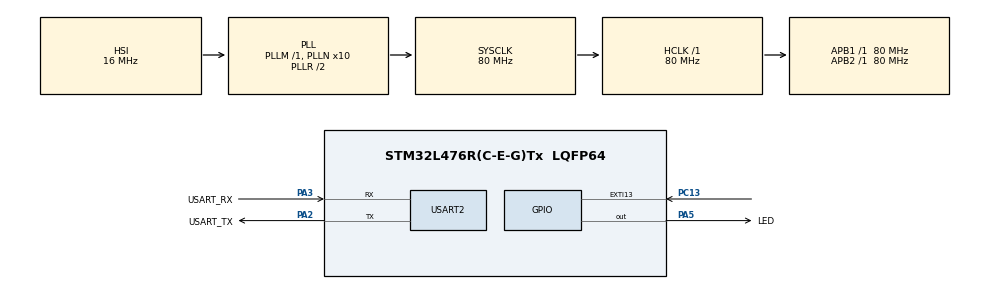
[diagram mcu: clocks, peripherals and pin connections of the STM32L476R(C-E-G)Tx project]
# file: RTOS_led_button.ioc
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FREERTOS.Tasks01=defaultTask,0,128,StartDefaultTask,Default,NULL,Dynamic,NULL,NULL
Mcu.Family=STM32L4
Mcu.Name=STM32L476R(C-E-G)Tx
Mcu.Package=LQFP64
NVIC.EXTI15_10_IRQn=true\:5\:0\:false\:false\:true\:true\:true\:true\:true
NVIC.PriorityGroup=NVIC_PRIORITYGROUP_4
PA13\ (JTMS-SWDIO).GPIO_Label=TMS
PA13\ (JTMS-SWDIO).Mode=Serial_Wire
PA13\ (JTMS-SWDIO).Signal=SYS_JTMS-SWDIO
PA14\ (JTCK-SWCLK).GPIO_Label=TCK
PA14\ (JTCK-SWCLK).Mode=Serial_Wire
PA14\ (JTCK-SWCLK).Signal=SYS_JTCK-SWCLK
PA2.GPIO_Label=USART_TX
PA2.GPIO_Mode=GPIO_MODE_AF_PP
PA2.GPIO_PuPd=GPIO_NOPULL
PA2.GPIO_Speed=GPIO_SPEED_FREQ_VERY_HIGH
PA2.Mode=Asynchronous
PA2.Signal=USART2_TX
PA3.GPIO_Label=USART_RX
PA3.GPIO_Mode=GPIO_MODE_AF_PP
PA3.GPIO_PuPd=GPIO_NOPULL
PA3.GPIO_Speed=GPIO_SPEED_FREQ_VERY_HIGH
PA3.Mode=Asynchronous
PA3.Signal=USART2_RX
PA5.GPIO_Label=LED
PA5.GPIO_ModeDefaultOutputPP=GPIO_MODE_OUTPUT_PP
PA5.GPIO_PuPd=GPIO_NOPULL
PA5.GPIO_Speed=GPIO_SPEED_FREQ_LOW
PA5.Signal=GPIO_Output
PB3\ (JTDO-TRACESWO).GPIO_Label=SWO
PB3\ (JTDO-TRACESWO).Signal=SYS_JTDO-SWO
PC13.Signal=GPXTI13
PC14-OSC32_IN\ (PC14).Mode=LSE-External-Oscillator
PC14-OSC32_IN\ (PC14).Signal=RCC_OSC32_IN
PC15-OSC32_OUT\ (PC15).Mode=LSE-External-Oscillator
PC15-OSC32_OUT\ (PC15).Signal=RCC_OSC32_OUT
PH0-OSC_IN\ (PH0).Signal=RCC_OSC_IN
PH1-OSC_OUT\ (PH1).Signal=RCC_OSC_OUT
ProjectManager.HeapSize=0x200
ProjectManager.StackSize=0x400
ProjectManager.TargetToolchain=STM32CubeIDE
RCC.ADCFreq_Value=64000000
RCC.AHBFreq_Value=80000000
RCC.APB1Freq_Value=80000000
RCC.APB1TimFreq_Value=80000000
RCC.APB2Freq_Value=80000000
RCC.APB2TimFreq_Value=80000000
RCC.CortexFreq_Value=80000000
RCC.HCLKFreq_Value=80000000
RCC.HSE_VALUE=8000000
RCC.HSI_VALUE=16000000
RCC.MSI_VALUE=4000000
RCC.PLLN=10
RCC.PLLSourceVirtual=RCC_PLLSOURCE_HSI
RCC.PREFETCH_ENABLE=1
RCC.SYSCLKFreq_VALUE=80000000
RCC.SYSCLKSource=RCC_SYSCLKSOURCE_PLLCLK
RCC.USBFreq_Value=64000000
RCC.VCOOutputFreq_Value=160000000
USART2.VirtualMode-Asynchronous=VM_ASYNC
VP_FREERTOS_VS_CMSIS_V1.Mode=CMSIS_V1
board=NUCLEO-L476RG

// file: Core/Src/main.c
/* USER CODE BEGIN Header */
/**
  ******************************************************************************
  * @file           : main.c
  * @brief          : Main program body
  ******************************************************************************
  * @attention
  *
  * Copyright (c) 2025 STMicroelectronics.
  * All rights reserved.
  *
  * This software is licensed under terms that can be found in the LICENSE file
  * in the root directory of this software component.
  * If no LICENSE file comes with this software, it is provided AS-IS.
  *
  ******************************************************************************
  */
/* USER CODE END Header */
#include "main.h"
#include "cmsis_os.h"

/* USER CODE BEGIN PD */
//macros to indicate about button status
#define NOT_PRESSED		0
#define PRESSED			1
/* USER CODE END PD */

UART_HandleTypeDef huart2;  //handle for USART2

osThreadId defaultTaskHandle; // handle for the default task
/* USER CODE BEGIN PV */
uint8_t button_status = NOT_PRESSED;   //variable to track button pressed or not
/* USER CODE END PV */

void SystemClock_Config(void);
static void MX_GPIO_Init(void);
static void MX_USART2_UART_Init(void);
void StartDefaultTask(void const * argument);

/* USER CODE BEGIN 0 */

// Interrupt Service Routine for EXTI lines 15 to 10 (covers PC13 user button)
void EXTI15_10_IRQHandler(void)
{
  /* USER CODE BEGIN EXTI15_10_IRQn 0 */

  /* USER CODE END EXTI15_10_IRQn 0 */
  HAL_GPIO_EXTI_IRQHandler(GPIO_PIN_13);// Clear the EXTI interrupt flag for pin PC13
  button_handler(NULL); // Call function to handle button press (toggle button_status)
  /* USER CODE BEGIN EXTI15_10_IRQn 1 */

  /* USER CODE END EXTI15_10_IRQn 1 */
}
// Task to control LED based on button_status
void led_task(void *p)
{
	while(1)   // keep running forever
	{
		if(button_status == PRESSED)   // check if button is pressed
		{
			HAL_GPIO_WritePin(GPIOA, GPIO_PIN_5, SET);   // turn ON LED
			vTaskDelay(1000);    // wait 1000 ticks
		}
		else   // button not pressed
		{
			HAL_GPIO_WritePin(GPIOA, GPIO_PIN_5, RESET); // turn OFF LED
			// vTaskDelay(1000); //  delay
		}
	}
}

// Interrupt or task handler to update button_status
void button_handler(void *p)
{
	button_status ^= 1;  // toggle button_status (0->1 or 1->0)
}

/* USER CODE END 0 */

int main(void)
{

  /* MCU Configuration--------------------------------------------------------*/

  /* Reset of all peripherals, Initializes the Flash interface and the Systick. */
  HAL_Init();

  /* Configure the system clock */
  SystemClock_Config();

  /* Initialize all configured peripherals */
  MX_GPIO_Init();
  MX_USART2_UART_Init();

  /* Create the thread(s) */
  /* definition and creation of defaultTask */
  osThreadDef(defaultTask, StartDefaultTask, osPriorityNormal, 0, 128);
  defaultTaskHandle = osThreadCreate(osThread(defaultTask), NULL);

  /* USER CODE BEGIN RTOS_THREADS */
 xTaskCreate(led_task, "LED", configMINIMAL_STACK_SIZE, NULL, 1,NULL);  // task created for set led depending upon switch press

  /* USER CODE END RTOS_THREADS */

  /* Start scheduler */
  osKernelStart();

  /* We should never get here as control is now taken by the scheduler */

  /* Infinite loop */
  while (1)
  {

  }
}

void SystemClock_Config(void)
{
  RCC_OscInitTypeDef RCC_OscInitStruct = {0};
  RCC_ClkInitTypeDef RCC_ClkInitStruct = {0};

  /** Configure the main internal regulator output voltage
  */
  if (HAL_PWREx_ControlVoltageScaling(PWR_REGULATOR_VOLTAGE_SCALE1) != HAL_OK)
  {
    Error_Handler();
  }

  /** Initializes the RCC Oscillators according to the specified parameters
  * in the RCC_OscInitTypeDef structure.
  */
  RCC_OscInitStruct.OscillatorType = RCC_OSCILLATORTYPE_HSI;
  RCC_OscInitStruct.HSIState = RCC_HSI_ON;
  RCC_OscInitStruct.HSICalibrationValue = RCC_HSICALIBRATION_DEFAULT;
  RCC_OscInitStruct.PLL.PLLState = RCC_PLL_ON;
  RCC_OscInitStruct.PLL.PLLSource = RCC_PLLSOURCE_HSI;
  RCC_OscInitStruct.PLL.PLLM = 1;
  RCC_OscInitStruct.PLL.PLLN = 10;
  RCC_OscInitStruct.PLL.PLLP = RCC_PLLP_DIV7;
  RCC_OscInitStruct.PLL.PLLQ = RCC_PLLQ_DIV2;
  RCC_OscInitStruct.PLL.PLLR = RCC_PLLR_DIV2;
  if (HAL_RCC_OscConfig(&RCC_OscInitStruct) != HAL_OK)
  {
    Error_Handler();
  }

  /** Initializes the CPU, AHB and APB buses clocks
  */
  RCC_ClkInitStruct.ClockType = RCC_CLOCKTYPE_HCLK|RCC_CLOCKTYPE_SYSCLK
                              |RCC_CLOCKTYPE_PCLK1|RCC_CLOCKTYPE_PCLK2;
  RCC_ClkInitStruct.SYSCLKSource = RCC_SYSCLKSOURCE_PLLCLK;
  RCC_ClkInitStruct.AHBCLKDivider = RCC_SYSCLK_DIV1;
  RCC_ClkInitStruct.APB1CLKDivider = RCC_HCLK_DIV1;
  RCC_ClkInitStruct.APB2CLKDivider = RCC_HCLK_DIV1;

  if (HAL_RCC_ClockConfig(&RCC_ClkInitStruct, FLASH_LATENCY_4) != HAL_OK)
  {
    Error_Handler();
  }
}

static void MX_USART2_UART_Init(void)
{

  huart2.Instance = USART2;
  huart2.Init.BaudRate = 115200;
  huart2.Init.WordLength = UART_WORDLENGTH_8B;
  huart2.Init.StopBits = UART_STOPBITS_1;
  huart2.Init.Parity = UART_PARITY_NONE;
  huart2.Init.Mode = UART_MODE_TX_RX;
  huart2.Init.HwFlowCtl = UART_HWCONTROL_NONE;
  huart2.Init.OverSampling = UART_OVERSAMPLING_16;
  huart2.Init.OneBitSampling = UART_ONE_BIT_SAMPLE_DISABLE;
  huart2.AdvancedInit.AdvFeatureInit = UART_ADVFEATURE_NO_INIT;
  if (HAL_UART_Init(&huart2) != HAL_OK)
  {
    Error_Handler();
  }

}

static void MX_GPIO_Init(void)
{
  GPIO_InitTypeDef GPIO_InitStruct = {0};

  /* GPIO Ports Clock Enable */
  __HAL_RCC_GPIOC_CLK_ENABLE();
  __HAL_RCC_GPIOH_CLK_ENABLE();
  __HAL_RCC_GPIOA_CLK_ENABLE();
  __HAL_RCC_GPIOB_CLK_ENABLE();

  /*Configure GPIO pin Output Level */
  HAL_GPIO_WritePin(LED_GPIO_Port, LED_Pin, GPIO_PIN_RESET);

  /*Configure GPIO pin : PC13 */
  GPIO_InitStruct.Pin = GPIO_PIN_13;
  GPIO_InitStruct.Mode = GPIO_MODE_IT_RISING;
  GPIO_InitStruct.Pull = GPIO_NOPULL;
  HAL_GPIO_Init(GPIOC, &GPIO_InitStruct);

  /*Configure GPIO pin : LED_Pin */
  GPIO_InitStruct.Pin = LED_Pin;
  GPIO_InitStruct.Mode = GPIO_MODE_OUTPUT_PP;
  GPIO_InitStruct.Pull = GPIO_NOPULL;
  GPIO_InitStruct.Speed = GPIO_SPEED_FREQ_LOW;
  HAL_GPIO_Init(LED_GPIO_Port, &GPIO_InitStruct);

  /* EXTI interrupt init*/
  HAL_NVIC_SetPriority(EXTI15_10_IRQn, 5, 0);
  HAL_NVIC_EnableIRQ(EXTI15_10_IRQn);

}

void StartDefaultTask(void const * argument)
{
  for(;;)
  {
    osDelay(1);
  }
}

void Error_Handler(void)
{
  __disable_irq();
  while (1)
  {
  }
}
